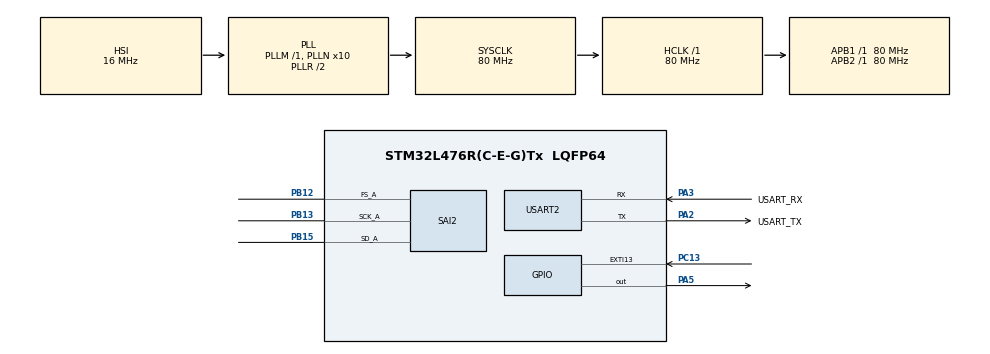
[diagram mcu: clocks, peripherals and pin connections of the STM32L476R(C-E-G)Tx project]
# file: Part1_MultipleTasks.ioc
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FREERTOS.Tasks01=defaultTask,24,128,StartDefaultTask,As weak,NULL,Dynamic,NULL,NULL
FREERTOS.configENABLE_FPU=1
FREERTOS.configTOTAL_HEAP_SIZE=16000
Mcu.Family=STM32L4
Mcu.Name=STM32L476R(C-E-G)Tx
Mcu.Package=LQFP64
NUCLEO-L476RG.BUTTON=2
NUCLEO-L476RG.LD2=true
NVIC.EXTI15_10_IRQn=true\:5\:0\:false\:false\:true\:true\:false\:true\:true
NVIC.PriorityGroup=NVIC_PRIORITYGROUP_4
NVIC.TIM6_DAC_IRQn=true\:15\:0\:false\:false\:true\:false\:false\:true\:true
NVIC.TimeBase=TIM6_DAC_IRQn
NVIC.TimeBaseIP=TIM6
PA13\ (JTMS-SWDIO).GPIO_Label=TMS
PA13\ (JTMS-SWDIO).Signal=SYS_JTMS-SWDIO
PA14\ (JTCK-SWCLK).GPIO_Label=TCK
PA14\ (JTCK-SWCLK).Signal=SYS_JTCK-SWCLK
PA2.GPIO_Label=USART_TX
PA2.GPIO_Mode=GPIO_MODE_AF_PP
PA2.GPIO_PuPd=GPIO_NOPULL
PA2.GPIO_Speed=GPIO_SPEED_FREQ_VERY_HIGH
PA2.Mode=Asynchronous
PA2.Signal=USART2_TX
PA3.GPIO_Label=USART_RX
PA3.GPIO_Mode=GPIO_MODE_AF_PP
PA3.GPIO_PuPd=GPIO_NOPULL
PA3.GPIO_Speed=GPIO_SPEED_FREQ_VERY_HIGH
PA3.Mode=Asynchronous
PA3.Signal=USART2_RX
PA5.Signal=GPIO_Output
PB12.Mode=SAI_A_Master
PB12.Signal=SAI2_FS_A
PB13.Mode=SAI_A_Master
PB13.Signal=SAI2_SCK_A
PB15.GPIO_PuPd=GPIO_PULLDOWN
PB15.Mode=SAI_A_Master
PB15.Signal=SAI2_SD_A
PB3\ (JTDO-TRACESWO).GPIO_Label=SWO
PB3\ (JTDO-TRACESWO).Signal=SYS_JTDO-SWO
PC13.Signal=GPXTI13
PC14-OSC32_IN\ (PC14).Signal=RCC_OSC32_IN
PC15-OSC32_OUT\ (PC15).Signal=RCC_OSC32_OUT
PH0-OSC_IN\ (PH0).Signal=RCC_OSC_IN
PH1-OSC_OUT\ (PH1).Signal=RCC_OSC_OUT
ProjectManager.HeapSize=0x200
ProjectManager.StackSize=0x400
ProjectManager.TargetToolchain=CMake
RCC.ADCFreq_Value=64000000
RCC.AHBFreq_Value=80000000
RCC.APB1Freq_Value=80000000
RCC.APB1TimFreq_Value=80000000
RCC.APB2Freq_Value=80000000
RCC.APB2TimFreq_Value=80000000
RCC.CortexFreq_Value=80000000
RCC.HCLKFreq_Value=80000000
RCC.HSE_VALUE=8000000
RCC.HSI_VALUE=16000000
RCC.LSE_VALUE=32768
RCC.MSI_VALUE=4000000
RCC.PLLN=10
RCC.PLLSAI2N=12
RCC.PLLSAI2P=RCC_PLLP_DIV17
RCC.PLLSourceVirtual=RCC_PLLSOURCE_HSI
RCC.PREFETCH_ENABLE=1
RCC.SAI2CLockSelection=RCC_SAI2CLKSOURCE_PLLSAI2
RCC.SYSCLKFreq_VALUE=80000000
RCC.SYSCLKSource=RCC_SYSCLKSOURCE_PLLCLK
RCC.USBFreq_Value=64000000
RCC.VCOOutputFreq_Value=160000000
SAI2.AudioFrequency-SAI_A_Master=SAI_AUDIO_FREQUENCY_44K
SAI2.AudioMode-SAI_A_Master=SAI_MODEMASTER_RX
SAI2.BasicDataSize-SAI_A_Master=SAI_PROTOCOL_DATASIZE_24BIT
SAI2.ErrorAudioFreq-SAI_A_Master=0.03 %
SAI2.InitProtocol-SAI_A_Master=Enable
SAI2.Instance-SAI_A_Master=SAI$Index_Block_A
SAI2.MClockEnable-SAI_A_Master=SAI_MASTERCLOCK_DISABLE
SAI2.MonoStereoMode-SAI_A_Master=SAI_MONOMODE
SAI2.NoDivider-SAI_A_Master=SAI_MASTERDIVIDER_ENABLE
SAI2.RealAudioFreq-SAI_A_Master=44.117 KHz
SAI2.VirtualMode-SAI_A_Master=VM_MASTER
SAI2.VirtualProtocol-SAI_A_BASIC=VM_BASIC_PROTOCOL
STMicroelectronics.X-CUBE-ALGOBUILD.1.5.0.LibraryCcDSPOoLibraryJjDSPOoLibrary=true
USART2.VirtualMode-Asynchronous=VM_ASYNC
VP_FREERTOS_VS_CMSIS_V2.Mode=CMSIS_V2
VP_NUCLEO-L476RG_VS_BSP_COMMON.Mode=COMMON
VP_SAI2_VP_$IpInstance_SAIA_SAI_BASIC.Mode=SAI_A_BASIC
VP_STMicroelectronics.X-CUBE-ALGOBUILD_VS_DSPOoLibraryJjLibrary_1.5.0_1.5.0.Mode=DSPOoLibraryJjLibrary
VP_SYS_VS_tim6.Mode=TIM6
board=NUCLEO-L476RG

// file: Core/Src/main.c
/* USER CODE BEGIN Header */
/**
  ******************************************************************************
  * @file           : main.c
  * @brief          : Main program body
  ******************************************************************************
  * @attention
  *
  * Copyright (c) 2026 STMicroelectronics.
  * All rights reserved.
  *
  * This software is licensed under terms that can be found in the LICENSE file
  * in the root directory of this software component.
  * If no LICENSE file comes with this software, it is provided AS-IS.
  *
  ******************************************************************************
  */
/* USER CODE END Header */
#include "main.h"
#include "cmsis_os.h"

/* USER CODE BEGIN Includes */
#include "FreeRTOS.h"
#include "cmsis_os2.h"
#include "projdefs.h"
#include "stm32l4xx_hal_def.h"
#include "stm32l4xx_nucleo.h"
#include "task.h"
#include "arm_math.h"
#include "string.h"
#include "stdio.h"
/* USER CODE END Includes */

/* USER CODE BEGIN PD */
#define AUDIO_BUF_SIZE 512
#define FFT_LENGTH AUDIO_BUF_SIZE
#define FFT_MAG_LEN (FFT_LENGTH/2)
#define SAMPLE_RATE 44100.0f
#define FFT_RESOLUTION (SAMPLE_RATE/FFT_LENGTH) // 44100/512 = 86.1328125 Hz
/* USER CODE END PD */

SAI_HandleTypeDef hsai_BlockA2;

UART_HandleTypeDef huart2;

/* Definitions for defaultTask */
osThreadId_t defaultTaskHandle;
const osThreadAttr_t defaultTask_attributes = {
  .name = "defaultTask",
  .stack_size = 128 * 4,
  .priority = (osPriority_t) osPriorityNormal,
};
/* USER CODE BEGIN PV */
int32_t audio_samples[AUDIO_BUF_SIZE];
arm_rfft_fast_instance_f32 xFFT_instance;

float32_t fft_input[FFT_LENGTH];
float32_t fft_output[FFT_LENGTH];
float32_t fft_magnitude[FFT_MAG_LEN];

TaskHandle_t processTaskHandle;
TaskHandle_t microphoneTaskHandle;
/* USER CODE END PV */

void SystemClock_Config(void);
static void MX_GPIO_Init(void);
static void MX_SAI2_Init(void);
static void MX_USART2_UART_Init(void);
void StartDefaultTask(void *argument);

/* USER CODE BEGIN PFP */
void MicrophoneStream(void *argument);
void Process_Audio(void *argument);
void traceTaskSwitch(void);
/* USER CODE END PFP */

int main(void)
{

  /* MCU Configuration--------------------------------------------------------*/

  /* Reset of all peripherals, Initializes the Flash interface and the Systick. */
  HAL_Init();

  /* Configure the system clock */
  SystemClock_Config();

  /* Initialize all configured peripherals */
  MX_GPIO_Init();
  MX_SAI2_Init();
  MX_USART2_UART_Init();
  /* USER CODE BEGIN 2 */
  arm_rfft_fast_init_f32(&xFFT_instance, FFT_LENGTH);
  /* USER CODE END 2 */

  /* Init scheduler */
  osKernelInitialize();

  /* Create the thread(s) */
  /* creation of defaultTask */
  //defaultTaskHandle = osThreadNew(StartDefaultTask, NULL, &defaultTask_attributes);

  /* USER CODE BEGIN RTOS_THREADS */
  /* add threads, ... */
  xTaskCreate(MicrophoneStream, "Microphone Stream", 512, NULL, 1, &microphoneTaskHandle);
  xTaskCreate(Process_Audio, "Audio FFT", 1024, NULL, 1, &processTaskHandle);

  /* USER CODE END RTOS_THREADS */

  /* Initialize leds */
  BSP_LED_Init(LED_GREEN);

  /* Initialize User push-button without interrupt mode. */
  BSP_PB_Init(BUTTON_USER, BUTTON_MODE_GPIO);

  /* Start scheduler */
  osKernelStart();

  /* We should never get here as control is now taken by the scheduler */

  /* Infinite loop */
  while (1)
  {

  }
}

void SystemClock_Config(void)
{
  RCC_OscInitTypeDef RCC_OscInitStruct = {0};
  RCC_ClkInitTypeDef RCC_ClkInitStruct = {0};

  /** Configure the main internal regulator output voltage
  */
  if (HAL_PWREx_ControlVoltageScaling(PWR_REGULATOR_VOLTAGE_SCALE1) != HAL_OK)
  {
    Error_Handler();
  }

  /** Initializes the RCC Oscillators according to the specified parameters
  * in the RCC_OscInitTypeDef structure.
  */
  RCC_OscInitStruct.OscillatorType = RCC_OSCILLATORTYPE_HSI;
  RCC_OscInitStruct.HSIState = RCC_HSI_ON;
  RCC_OscInitStruct.HSICalibrationValue = RCC_HSICALIBRATION_DEFAULT;
  RCC_OscInitStruct.PLL.PLLState = RCC_PLL_ON;
  RCC_OscInitStruct.PLL.PLLSource = RCC_PLLSOURCE_HSI;
  RCC_OscInitStruct.PLL.PLLM = 1;
  RCC_OscInitStruct.PLL.PLLN = 10;
  RCC_OscInitStruct.PLL.PLLP = RCC_PLLP_DIV7;
  RCC_OscInitStruct.PLL.PLLQ = RCC_PLLQ_DIV2;
  RCC_OscInitStruct.PLL.PLLR = RCC_PLLR_DIV2;
  if (HAL_RCC_OscConfig(&RCC_OscInitStruct) != HAL_OK)
  {
    Error_Handler();
  }

  /** Initializes the CPU, AHB and APB buses clocks
  */
  RCC_ClkInitStruct.ClockType = RCC_CLOCKTYPE_HCLK|RCC_CLOCKTYPE_SYSCLK
                              |RCC_CLOCKTYPE_PCLK1|RCC_CLOCKTYPE_PCLK2;
  RCC_ClkInitStruct.SYSCLKSource = RCC_SYSCLKSOURCE_PLLCLK;
  RCC_ClkInitStruct.AHBCLKDivider = RCC_SYSCLK_DIV1;
  RCC_ClkInitStruct.APB1CLKDivider = RCC_HCLK_DIV1;
  RCC_ClkInitStruct.APB2CLKDivider = RCC_HCLK_DIV1;

  if (HAL_RCC_ClockConfig(&RCC_ClkInitStruct, FLASH_LATENCY_4) != HAL_OK)
  {
    Error_Handler();
  }
}

static void MX_SAI2_Init(void)
{

  hsai_BlockA2.Instance = SAI2_Block_A;
  hsai_BlockA2.Init.AudioMode = SAI_MODEMASTER_RX;
  hsai_BlockA2.Init.Synchro = SAI_ASYNCHRONOUS;
  hsai_BlockA2.Init.OutputDrive = SAI_OUTPUTDRIVE_DISABLE;
  hsai_BlockA2.Init.NoDivider = SAI_MASTERDIVIDER_ENABLE;
  hsai_BlockA2.Init.FIFOThreshold = SAI_FIFOTHRESHOLD_EMPTY;
  hsai_BlockA2.Init.AudioFrequency = SAI_AUDIO_FREQUENCY_44K;
  hsai_BlockA2.Init.SynchroExt = SAI_SYNCEXT_DISABLE;
  hsai_BlockA2.Init.MonoStereoMode = SAI_MONOMODE;
  hsai_BlockA2.Init.CompandingMode = SAI_NOCOMPANDING;
  if (HAL_SAI_InitProtocol(&hsai_BlockA2, SAI_I2S_STANDARD, SAI_PROTOCOL_DATASIZE_24BIT, 2) != HAL_OK)
  {
    Error_Handler();
  }

}

static void MX_USART2_UART_Init(void)
{

  huart2.Instance = USART2;
  huart2.Init.BaudRate = 115200;
  huart2.Init.WordLength = UART_WORDLENGTH_8B;
  huart2.Init.StopBits = UART_STOPBITS_1;
  huart2.Init.Parity = UART_PARITY_NONE;
  huart2.Init.Mode = UART_MODE_TX_RX;
  huart2.Init.HwFlowCtl = UART_HWCONTROL_NONE;
  huart2.Init.OverSampling = UART_OVERSAMPLING_16;
  huart2.Init.OneBitSampling = UART_ONE_BIT_SAMPLE_DISABLE;
  huart2.AdvancedInit.AdvFeatureInit = UART_ADVFEATURE_NO_INIT;
  if (HAL_UART_Init(&huart2) != HAL_OK)
  {
    Error_Handler();
  }

}

static void MX_GPIO_Init(void)
{
  GPIO_InitTypeDef GPIO_InitStruct = {0};

  /* GPIO Ports Clock Enable */
  __HAL_RCC_GPIOC_CLK_ENABLE();
  __HAL_RCC_GPIOH_CLK_ENABLE();
  __HAL_RCC_GPIOA_CLK_ENABLE();
  __HAL_RCC_GPIOB_CLK_ENABLE();

  /*Configure GPIO pin Output Level */
  HAL_GPIO_WritePin(GPIOA, GPIO_PIN_5, GPIO_PIN_RESET);

  /*Configure GPIO pin : PC13 */
  GPIO_InitStruct.Pin = GPIO_PIN_13;
  GPIO_InitStruct.Mode = GPIO_MODE_IT_RISING;
  GPIO_InitStruct.Pull = GPIO_NOPULL;
  HAL_GPIO_Init(GPIOC, &GPIO_InitStruct);

  /*Configure GPIO pin : PA5 */
  GPIO_InitStruct.Pin = GPIO_PIN_5;
  GPIO_InitStruct.Mode = GPIO_MODE_OUTPUT_PP;
  GPIO_InitStruct.Pull = GPIO_NOPULL;
  GPIO_InitStruct.Speed = GPIO_SPEED_FREQ_LOW;
  HAL_GPIO_Init(GPIOA, &GPIO_InitStruct);

  /* EXTI interrupt init*/
  HAL_NVIC_SetPriority(EXTI15_10_IRQn, 5, 0);
  HAL_NVIC_EnableIRQ(EXTI15_10_IRQn);

}

/* USER CODE BEGIN 4 */
void MicrophoneStream(void *argument){
  for(;;)
  {
    HAL_SAI_Receive(&hsai_BlockA2, (uint8_t *)audio_samples, AUDIO_BUF_SIZE, HAL_MAX_DELAY);
    xTaskNotifyGive(processTaskHandle);
    vTaskDelay(pdMS_TO_TICKS(400));
    ulTaskNotifyTake(pdTRUE, portMAX_DELAY);
  }
}

void Process_Audio(void *argument){
  for(;;)
  {
    ulTaskNotifyTake(pdTRUE, portMAX_DELAY);
    if(audio_samples[0]!=0)
    {
      for(uint32_t i=0;i<FFT_LENGTH;i++)
      {

        int32_t signed_sample = ((int32_t)audio_samples[i] << 8) >> 8; // EXTEND SIGN BIT FROM 24 BIT WORDS

        fft_input[i] = signed_sample / 8388608.0f; // NORMALIZE TO FLOAT DIVIDING BY 2**23

      }

      arm_rfft_fast_f32(&xFFT_instance, fft_input, fft_output, 0);
      arm_cmplx_mag_f32(&fft_output[2], &fft_magnitude[1], FFT_MAG_LEN-1);

      fft_magnitude[0] = fabsf(fft_output[0]); // fft_output[0] is already real

    }
    xTaskNotifyGive(microphoneTaskHandle);
  }
}

void traceTaskSwitch(void)
{
  uint8_t buf1[50];
  BSP_LED_Toggle(LED_GREEN);

  snprintf((char*)buf1, sizeof(buf1), "Current Task: %s\r\n", pcTaskGetTaskName(NULL));
  HAL_UART_Transmit(&huart2, buf1, strlen((char*)buf1), HAL_MAX_DELAY);
}
/* USER CODE END 4 */

__weak void StartDefaultTask(void *argument)
{
  for(;;)
  {
    osDelay(1);
  }
}

void HAL_TIM_PeriodElapsedCallback(TIM_HandleTypeDef *htim)
{
  if (htim->Instance == TIM6)
  {
    HAL_IncTick();
  }
}

void Error_Handler(void)
{
  __disable_irq();
  while (1)
  {
  }
}
